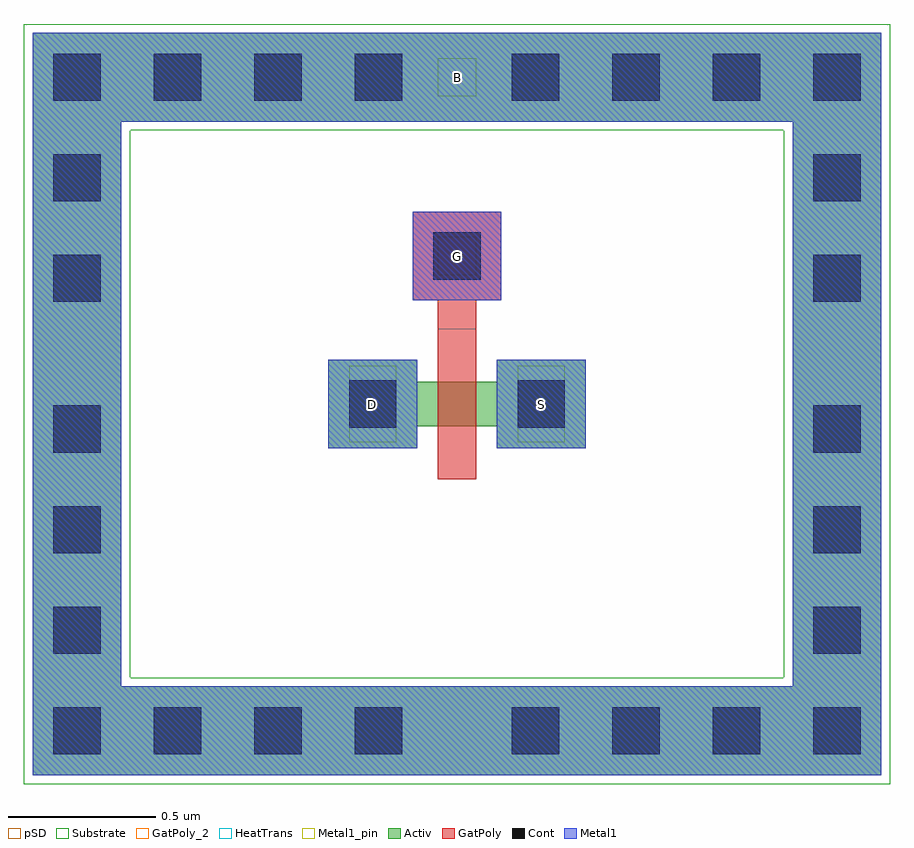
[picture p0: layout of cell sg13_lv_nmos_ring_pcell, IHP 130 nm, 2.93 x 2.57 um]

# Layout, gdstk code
from math import pi, radians
import gdstk
lib = gdstk.Library(unit=1e-6, precision=5e-09)
def R(c, l, rs):  # rectangles x0, y0, x1, y1
    for r in rs: c.add(gdstk.rectangle(r[:2], r[2:], *l))
def A(c, l, x, y, w, h, nx, ny, dx, dy):  # array of equal rectangles
    R(c, l, [(x+i*dx, y+j*dy, x+i*dx+w, y+j*dy+h) for i in range(nx) for j in range(ny)])
def P(c, l, *ps):  # polygons
    for p in ps: c.add(gdstk.Polygon(p, *l))
Activ = (1, 0)
GatPoly = (5, 0)
GatPoly_2 = (5, 2)
Cont = (6, 0)
Metal1 = (8, 0)
Metal1_pin = (8, 2)
pSD = (14, 0)
Substrate = (40, 0)
HeatTrans = (51, 0)

nmos = lib.new_cell('nmos')
R(nmos, Activ, [(0,0,0.3,0.3), (0.57,0,0.87,0.3), (0,0.075,0.87,0.225)])
R(nmos, GatPoly, [(0.37,-0.105,0.5,0.405)])
R(nmos, GatPoly_2, [(0.37,-0.105,0.5,0.405)])
R(nmos, Cont, [(0.07,0.07,0.23,0.23), (0.64,0.07,0.8,0.23)])
R(nmos, Metal1, [(0.07,0.02,0.23,0.28), (0.64,0.02,0.8,0.28)])
R(nmos, Metal1_pin, [(0.07,0.02,0.23,0.28), (0.64,0.02,0.8,0.28)])
R(nmos, HeatTrans, [(0.37,-0.105,0.5,0.405)])
nmos.add(gdstk.Label('nmos', (0.435,0.15), layer=63, texttype=0))
nmos.add(gdstk.Label('nmos', (0.435,0.15), layer=51, texttype=0))

via = lib.new_cell('Via')
R(via, GatPoly, [(-0.15,-0.15,0.15,0.15)])
R(via, Cont, [(-0.08,-0.08,0.08,0.08)])
R(via, Metal1, [(-0.13,-0.08,0.13,0.08)])

guard_ring = lib.new_cell('guard_ring')
R(guard_ring, Activ, [(-1.435,-0.955,-1.135,0.955), (1.135,-0.955,1.435,0.955), (-1.435,0.955,1.435,1.255)])
P(guard_ring, Activ, [(-1.435,-1.255),(-1.435,0.955),(-1.135,0.955),(-1.135,-0.955),(1.135,-0.955),(1.135,0.955),(-1.435,0.955),(-1.435,1.255),(1.435,1.255),(1.435,-1.255)])
A(guard_ring, Cont, -1.365, -1.185, 0.16, 0.16, 4, 2, 0.34, 2.21)
A(guard_ring, Cont, 0.185, -1.185, 0.16, 0.16, 4, 2, 0.34, 2.21)
A(guard_ring, Cont, -1.365, 0.005, 0.16, 0.16, 1, 3, 0, 0.34)
A(guard_ring, Cont, 1.205, 0.005, 0.16, 0.16, 1, 3, 0, 0.34)
R(guard_ring, Cont, [(-1.365,-0.845,-1.205,-0.685), (1.205,-0.845,1.365,-0.685), (-1.365,-0.505,-1.205,-0.345), (1.205,-0.505,1.365,-0.345)])
R(guard_ring, Metal1, [(-1.435,-1.255,1.435,-0.955), (-1.435,-0.955,-1.135,0.955), (1.135,-0.955,1.435,0.955), (-1.435,0.955,1.435,1.255)])
R(guard_ring, pSD, [(-1.465,-0.925,-1.105,0.925), (1.105,-0.925,1.465,0.925), (-1.465,0.925,1.465,1.285)])
P(guard_ring, pSD, [(-1.465,-1.285),(-1.465,0.925),(-1.105,0.925),(-1.105,-0.925),(1.105,-0.925),(1.105,0.925),(-1.465,0.925),(-1.465,1.285),(1.465,1.285),(1.465,-1.285)])
R(guard_ring, Substrate, [(-1.465,-0.925,-1.105,0.925), (1.105,-0.925,1.465,0.925), (-1.465,0.925,1.465,1.285)])
P(guard_ring, Substrate, [(-1.465,-1.285),(-1.465,0.925),(-1.105,0.925),(-1.105,-0.925),(1.105,-0.925),(1.105,0.925),(-1.465,0.925),(-1.465,1.285),(1.465,1.285),(1.465,-1.285)])
guard_ring.add(gdstk.Label('sub!', (0,-1.105), layer=63, texttype=0))

sg13_lv_nmos_ring_pcell = lib.new_cell('sg13_lv_nmos_ring_pcell')
R(sg13_lv_nmos_ring_pcell, GatPoly, [(0.37,0.405,0.5,0.5)])
R(sg13_lv_nmos_ring_pcell, Metal1, [(0,0,0.3,0.3), (0.57,0,0.87,0.3), (0.285,0.5,0.585,0.8)])
R(sg13_lv_nmos_ring_pcell, Metal1_pin, [(0.085,0.085,0.215,0.215), (0.655,0.085,0.785,0.215), (0.37,0.585,0.5,0.715), (0.37,1.19,0.5,1.32)])
sg13_lv_nmos_ring_pcell.add(gdstk.Reference(nmos, (0,0)))
sg13_lv_nmos_ring_pcell.add(gdstk.Reference(via, (0.435,0.65), rotation=3*pi/2))
sg13_lv_nmos_ring_pcell.add(gdstk.Reference(guard_ring, (0.435,0.15), rotation=pi))
sg13_lv_nmos_ring_pcell.add(gdstk.Label('G', (0.435,0.65), layer=8, texttype=25))
sg13_lv_nmos_ring_pcell.add(gdstk.Label('B', (0.435,1.255), layer=8, texttype=25))
sg13_lv_nmos_ring_pcell.add(gdstk.Label('D', (0.15,0.15), layer=8, texttype=25))
sg13_lv_nmos_ring_pcell.add(gdstk.Label('S', (0.72,0.15), layer=8, texttype=25))

lib.write_gds('sg13_lv_nmos_ring_pcell.gds')
